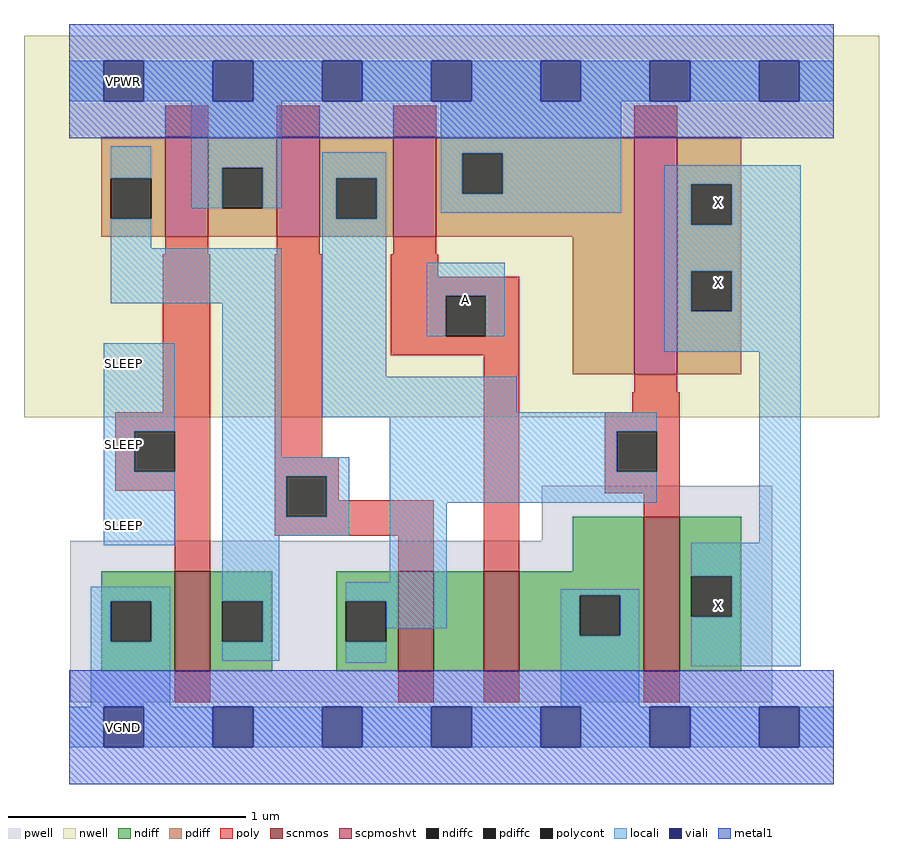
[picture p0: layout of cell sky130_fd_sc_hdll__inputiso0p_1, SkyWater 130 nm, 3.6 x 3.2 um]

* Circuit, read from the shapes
.subckt sky130_fd_sc_hdll__inputiso0p_1 A SLEEP VGND VNB VPB VPWR X
XM1 n1 SLEEP VGND VNB sky130_fd_pr__nfet_01v8 w=0.42 l=0.15
XM2 n2 n1 n3 VNB sky130_fd_pr__nfet_01v8 w=0.42 l=0.15
XM3 VGND A n2 VNB sky130_fd_pr__nfet_01v8 w=0.42 l=0.15
XM4 X n3 VGND VNB sky130_fd_pr__nfet_01v8 w=0.65 l=0.15
XM5 VPWR SLEEP n1 VPB sky130_fd_pr__pfet_01v8_hvt w=0.42 l=0.18
XM6 n3 n1 VPWR VPB sky130_fd_pr__pfet_01v8_hvt w=0.42 l=0.18
XM7 VPWR A n3 VPB sky130_fd_pr__pfet_01v8_hvt w=0.42 l=0.18
XM8 X n3 VPWR VPB sky130_fd_pr__pfet_01v8_hvt w=1 l=0.18
.ends

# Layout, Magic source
magic
tech sky130A
magscale 1 2
<< nwell >>
rect -38 261 682 582
<< pwell >>
rect 398 157 592 203
rect 1 21 592 157
rect 29 -17 63 21
<< scnmos >>
rect 89 47 119 131
rect 277 47 307 131
rect 349 47 379 131
rect 484 47 514 177
<< scpmoshvt >>
rect 81 413 117 497
rect 175 413 211 497
rect 273 413 309 497
rect 476 297 512 497
<< ndiff >>
rect 424 131 484 177
rect 27 106 89 131
rect 27 72 35 106
rect 69 72 89 106
rect 27 47 89 72
rect 119 106 171 131
rect 119 72 129 106
rect 163 72 171 106
rect 119 47 171 72
rect 225 106 277 131
rect 225 72 233 106
rect 267 72 277 106
rect 225 47 277 72
rect 307 47 349 131
rect 379 111 484 131
rect 379 77 430 111
rect 464 77 484 111
rect 379 47 484 77
rect 514 127 566 177
rect 514 93 524 127
rect 558 93 566 127
rect 514 47 566 93
<< pdiff >>
rect 27 462 81 497
rect 27 428 35 462
rect 69 428 81 462
rect 27 413 81 428
rect 117 471 175 497
rect 117 437 129 471
rect 163 437 175 471
rect 117 413 175 437
rect 211 462 273 497
rect 211 428 225 462
rect 259 428 273 462
rect 211 413 273 428
rect 309 483 476 497
rect 309 449 331 483
rect 365 449 476 483
rect 309 413 476 449
rect 424 297 476 413
rect 512 457 566 497
rect 512 423 524 457
rect 558 423 566 457
rect 512 384 566 423
rect 512 350 524 384
rect 558 350 566 384
rect 512 297 566 350
<< ndiffc >>
rect 35 72 69 106
rect 129 72 163 106
rect 233 72 267 106
rect 430 77 464 111
rect 524 93 558 127
<< pdiffc >>
rect 35 428 69 462
rect 129 437 163 471
rect 225 428 259 462
rect 331 449 365 483
rect 524 423 558 457
rect 524 350 558 384
<< poly >>
rect 81 497 117 523
rect 175 497 211 523
rect 273 497 309 523
rect 476 497 512 523
rect 81 398 117 413
rect 175 398 211 413
rect 273 398 309 413
rect 79 265 119 398
rect 39 249 119 265
rect 39 215 55 249
rect 89 215 119 249
rect 39 199 119 215
rect 89 131 119 199
rect 173 227 213 398
rect 271 379 311 398
rect 271 363 379 379
rect 271 329 317 363
rect 351 329 379 363
rect 271 313 379 329
rect 173 211 227 227
rect 173 177 183 211
rect 217 191 227 211
rect 217 177 307 191
rect 173 161 307 177
rect 277 131 307 161
rect 349 131 379 313
rect 476 282 512 297
rect 474 265 514 282
rect 451 249 514 265
rect 451 215 461 249
rect 495 215 514 249
rect 451 197 514 215
rect 484 177 514 197
rect 89 21 119 47
rect 277 21 307 47
rect 349 21 379 47
rect 484 21 514 47
<< polycont >>
rect 55 215 89 249
rect 317 329 351 363
rect 183 177 217 211
rect 461 215 495 249
<< locali >>
rect 0 527 29 561
rect 63 527 121 561
rect 155 527 213 561
rect 247 527 305 561
rect 339 527 397 561
rect 431 527 489 561
rect 523 527 581 561
rect 615 527 644 561
rect 35 462 69 489
rect 103 471 179 527
rect 103 437 129 471
rect 163 437 179 471
rect 213 462 267 484
rect 35 403 69 428
rect 213 428 225 462
rect 259 428 267 462
rect 313 483 465 527
rect 313 449 331 483
rect 365 449 465 483
rect 313 433 465 449
rect 501 457 616 473
rect 35 357 179 403
rect 29 249 89 323
rect 29 215 55 249
rect 29 153 89 215
rect 129 227 179 357
rect 213 295 267 428
rect 501 423 524 457
rect 558 423 616 457
rect 301 363 367 391
rect 301 329 317 363
rect 351 329 367 363
rect 501 384 616 423
rect 501 350 524 384
rect 558 350 616 384
rect 501 316 616 350
rect 213 265 377 295
rect 213 261 495 265
rect 270 249 495 261
rect 129 211 236 227
rect 129 177 183 211
rect 217 177 236 211
rect 129 161 236 177
rect 270 215 461 249
rect 270 189 495 215
rect 18 106 85 118
rect 18 72 35 106
rect 69 72 85 106
rect 18 17 85 72
rect 129 106 177 161
rect 270 122 318 189
rect 581 155 616 316
rect 163 72 177 106
rect 129 56 177 72
rect 233 106 318 122
rect 524 127 616 155
rect 267 83 318 106
rect 414 111 480 116
rect 233 54 267 72
rect 414 77 430 111
rect 464 77 480 111
rect 414 17 480 77
rect 558 93 616 127
rect 524 51 616 93
rect 0 -17 29 17
rect 63 -17 121 17
rect 155 -17 213 17
rect 247 -17 305 17
rect 339 -17 397 17
rect 431 -17 489 17
rect 523 -17 581 17
rect 615 -17 644 17
<< viali >>
rect 29 527 63 561
rect 121 527 155 561
rect 213 527 247 561
rect 305 527 339 561
rect 397 527 431 561
rect 489 527 523 561
rect 581 527 615 561
rect 29 -17 63 17
rect 121 -17 155 17
rect 213 -17 247 17
rect 305 -17 339 17
rect 397 -17 431 17
rect 489 -17 523 17
rect 581 -17 615 17
<< metal1 >>
rect 0 561 644 592
rect 0 527 29 561
rect 63 527 121 561
rect 155 527 213 561
rect 247 527 305 561
rect 339 527 397 561
rect 431 527 489 561
rect 523 527 581 561
rect 615 527 644 561
rect 0 496 644 527
rect 0 17 644 48
rect 0 -17 29 17
rect 63 -17 121 17
rect 155 -17 213 17
rect 247 -17 305 17
rect 339 -17 397 17
rect 431 -17 489 17
rect 523 -17 581 17
rect 615 -17 644 17
rect 0 -48 644 -17
<< labels >>
flabel locali s 530 357 564 391 0 FreeSans 200 0 0 0 X
port 7 nsew signal output
flabel locali s 29 289 63 323 0 FreeSans 200 0 0 0 SLEEP
port 2 nsew signal input
flabel locali s 29 153 63 187 0 FreeSans 200 0 0 0 SLEEP
port 2 nsew signal input
flabel locali s 301 329 367 391 0 FreeSans 400 0 0 0 A
port 1 nsew signal input
flabel locali s 530 85 564 119 0 FreeSans 200 0 0 0 X
port 7 nsew signal output
flabel locali s 29 221 63 255 0 FreeSans 200 0 0 0 SLEEP
port 2 nsew signal input
flabel locali s 530 425 564 459 0 FreeSans 200 0 0 0 X
port 7 nsew signal output
flabel metal1 s 29 -17 63 17 0 FreeSans 200 0 0 0 VGND
port 3 nsew ground bidirectional
flabel metal1 s 29 527 63 561 0 FreeSans 200 0 0 0 VPWR
port 6 nsew power bidirectional
flabel nwell s 29 527 63 561 0 FreeSans 200 0 0 0 VPB
port 5 nsew power bidirectional
flabel pwell s 29 -17 63 17 0 FreeSans 200 0 0 0 VNB
port 4 nsew ground bidirectional
rlabel comment s 0 0 0 0 4 sky130_fd_sc_hdll__lpflow_inputiso0p_1
<< properties >>
string LEFsite unithd
string LEFclass CORE
string FIXED_BBOX 0 0 644 544
string GDS_FILE $PDKPATH/libs.ref/sky130_fd_sc_hdll/gds/sky130_fd_sc_hdll.gds
string LEFsymmetry X Y R90
string GDS_END 3004780
string GDS_START 2999218
string LEFproperties maskLayoutSubType "abstract" prCellType "standard" originalViewName "layout"
<< end >>
